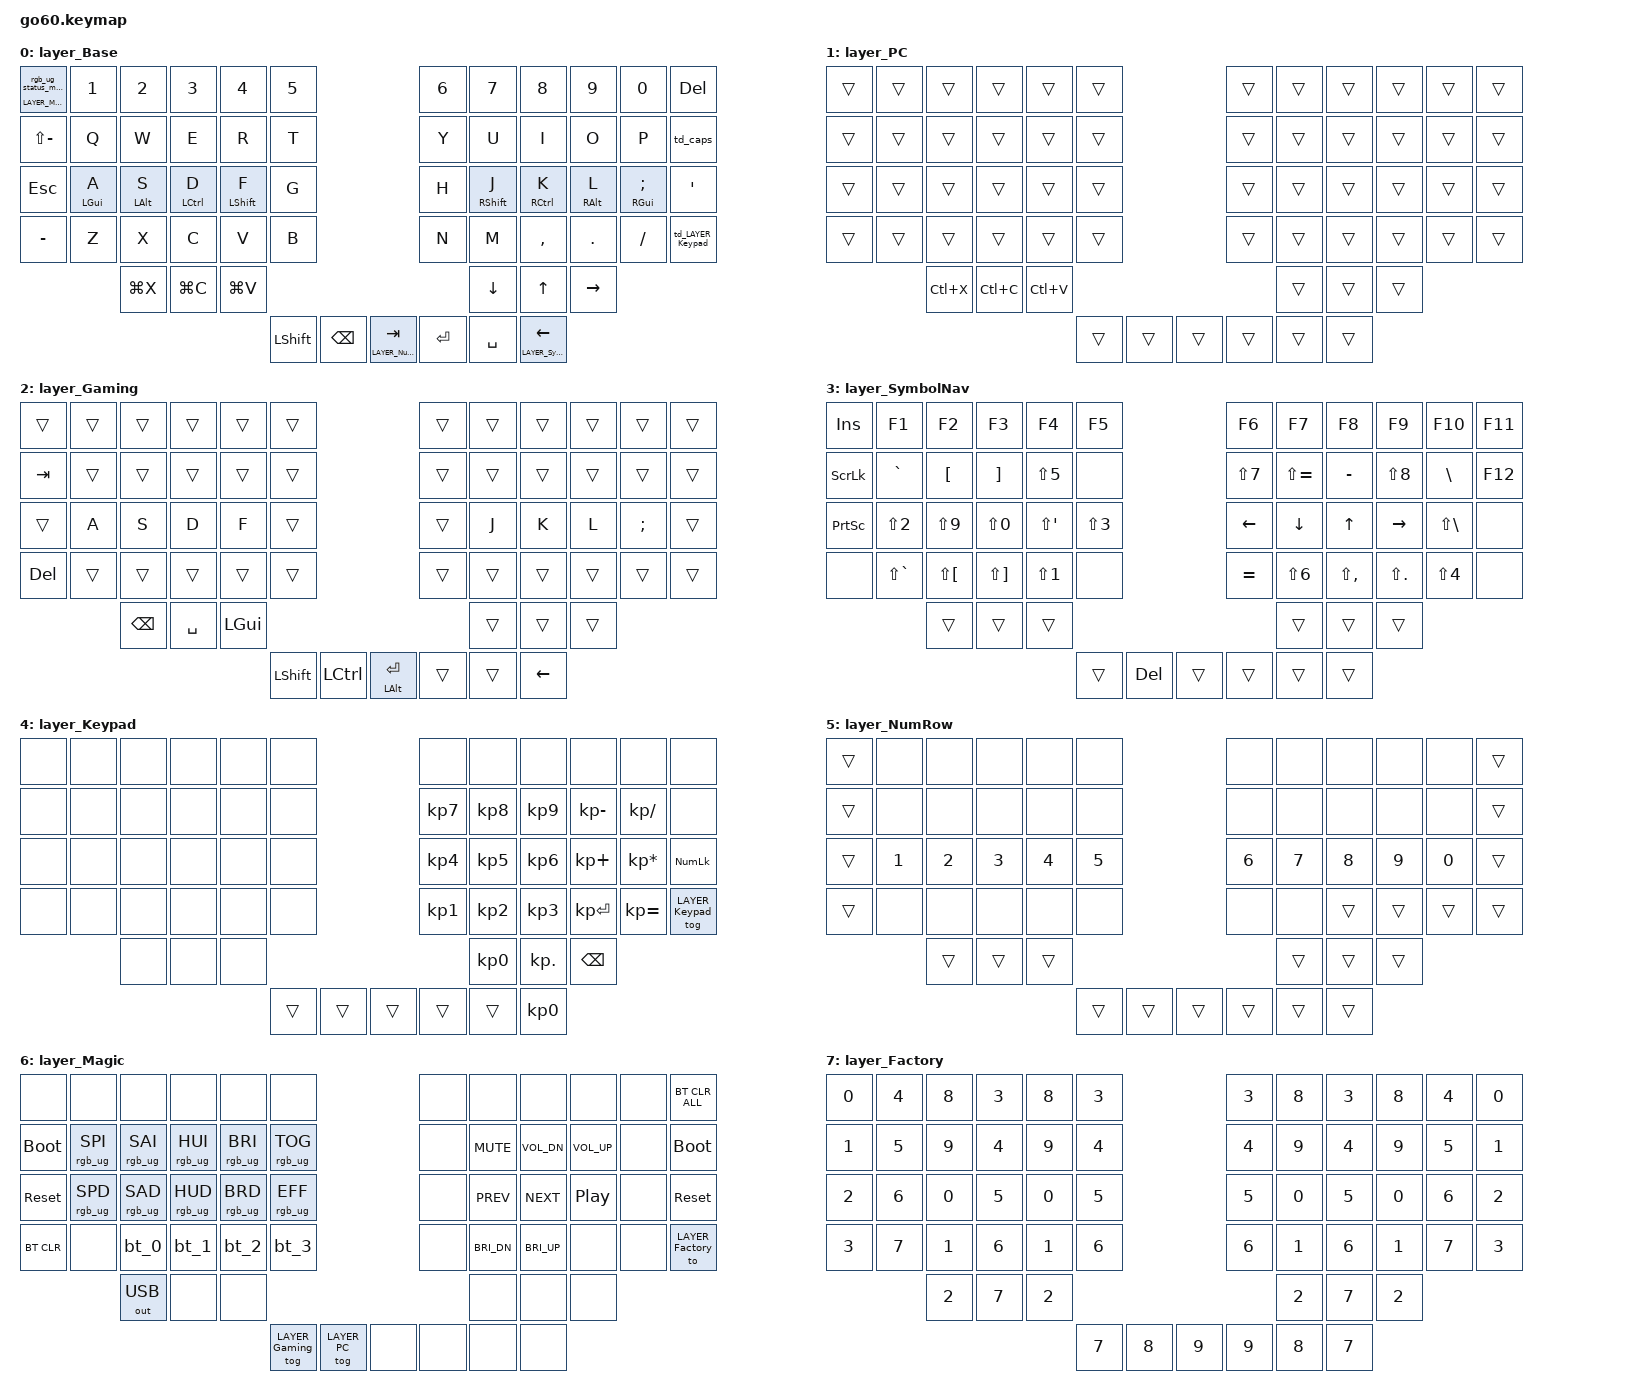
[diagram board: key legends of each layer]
/*
 * Copyright (c) 2020 The ZMK Contributors
 * Copyright (c) 2025 Innaworks Development Limited, trading as MoErgo
 *
 * SPDX-License-Identifier: MIT
 */


/* THIS FILE WAS GENERATED BY GO60 LAYOUT EDITOR
 *
 * This file was generated automatically. You may or may not want to
 * edit it directly.
 */

#include <behaviors.dtsi>

/* Include all behavior includes needed */

#include <dt-bindings/zmk/outputs.h>
#include <dt-bindings/zmk/keys.h>
#include <dt-bindings/zmk/bt.h>
#include <dt-bindings/zmk/rgb.h>

#include <input/processors.dtsi>
#include <dt-bindings/zmk/input_transform.h>
#include <zephyr/dt-bindings/input/input-event-codes.h>

/* On demand includes */
#include <dt-bindings/zmk/input_transform.h>
#include <dt-bindings/zmk/pointing.h>
#include <input/processors.dtsi>

/* Helper Macros, based on https://github.com/urob/zmk-helpers/ */

#pragma once

#define ZMK_HELPER_STRINGIFY(x) #x

// Preprocessor mechanism to overload macros, cf. https://stackoverflow.com/a/27051616/6114651
#define VARGS_(_10, _9, _8, _7, _6, _5, _4, _3, _2, _1, N, ...) N
#define VARGS(...) VARGS_(__VA_ARGS__, 10, 9, 8, 7, 6, 5, 4, 3, 2, 1, 0)
#define CONCAT_(a, b) a##b
#define CONCAT(a, b) CONCAT_(a, b)

#define ZMK_BEHAVIOR_CORE_tap_dance  \
    compatible = "zmk,behavior-tap-dance"; \
    #binding-cells = <0>

#define ZMK_BEHAVIOR(name, type, ...) \
    name: name { \
        ZMK_BEHAVIOR_CORE_ ## type; \
        __VA_ARGS__ \
    };

#define ZMK_TAP_DANCE(name, ...) \
    ZMK_BEHAVIOR(name, tap_dance, __VA_ARGS__)

#define ZMK_TD_LAYER(name, layer) \
    ZMK_TAP_DANCE(name, \
        tapping-term-ms = <200>; \
        bindings = <&mo layer>, <&tog layer>; \
)





/* Key positions */

#define POS_LH_C6R1 0
#define POS_LH_C5R1 1
#define POS_LH_C4R1 2
#define POS_LH_C3R1 3
#define POS_LH_C2R1 4
#define POS_LH_C1R1 5
#define POS_RH_C1R1 6
#define POS_RH_C2R1 7
#define POS_RH_C3R1 8
#define POS_RH_C4R1 9
#define POS_RH_C5R1 10
#define POS_RH_C6R1 11
#define POS_LH_C6R2 12
#define POS_LH_C5R2 13
#define POS_LH_C4R2 14
#define POS_LH_C3R2 15
#define POS_LH_C2R2 16
#define POS_LH_C1R2 17
#define POS_RH_C1R2 18
#define POS_RH_C2R2 19
#define POS_RH_C3R2 20
#define POS_RH_C4R2 21
#define POS_RH_C5R2 22
#define POS_RH_C6R2 23
#define POS_LH_C6R3 24
#define POS_LH_C5R3 25
#define POS_LH_C4R3 26
#define POS_LH_C3R3 27
#define POS_LH_C2R3 28
#define POS_LH_C1R3 29
#define POS_RH_C1R3 30
#define POS_RH_C2R3 31
#define POS_RH_C3R3 32
#define POS_RH_C4R3 33
#define POS_RH_C5R3 34
#define POS_RH_C6R3 35
#define POS_LH_C6R4 36
#define POS_LH_C5R4 37
#define POS_LH_C4R4 38
#define POS_LH_C3R4 39
#define POS_LH_C2R4 40
#define POS_LH_C1R4 41
#define POS_RH_C1R4 42
#define POS_RH_C2R4 43
#define POS_RH_C3R4 44
#define POS_RH_C4R4 45
#define POS_RH_C5R4 46
#define POS_RH_C6R4 47
#define POS_LH_C4R5 48
#define POS_LH_C3R5 49
#define POS_LH_C2R5 50
#define POS_RH_C2R5 51
#define POS_RH_C3R5 52
#define POS_RH_C4R5 53
#define POS_LH_T1 54
#define POS_LH_T2 55
#define POS_LH_T3 56
#define POS_RH_T3 57
#define POS_RH_T2 58
#define POS_RH_T1 59


#define LEFT_HAND_KEYS \
  POS_LH_C1R1 POS_LH_C2R1 POS_LH_C3R1 POS_LH_C4R1 POS_LH_C5R1 POS_LH_C6R1 \
  POS_LH_C1R2 POS_LH_C2R2 POS_LH_C3R2 POS_LH_C4R2 POS_LH_C5R2 POS_LH_C6R2 \
  POS_LH_C1R3 POS_LH_C2R3 POS_LH_C3R3 POS_LH_C4R3 POS_LH_C5R3 POS_LH_C6R3 \
  POS_LH_C1R4 POS_LH_C2R4 POS_LH_C3R4 POS_LH_C4R4 POS_LH_C5R4 POS_LH_C6R4 \
              POS_LH_C2R5 POS_LH_C3R5 POS_LH_C4R5

#define RIGHT_HAND_KEYS \
  POS_RH_C1R1 POS_RH_C2R1 POS_RH_C3R1 POS_RH_C4R1 POS_RH_C5R1 POS_RH_C6R1 \
  POS_RH_C1R2 POS_RH_C2R2 POS_RH_C3R2 POS_RH_C4R2 POS_RH_C5R2 POS_RH_C6R2 \
  POS_RH_C1R3 POS_RH_C2R3 POS_RH_C3R3 POS_RH_C4R3 POS_RH_C5R3 POS_RH_C6R3 \
  POS_RH_C1R4 POS_RH_C2R4 POS_RH_C3R4 POS_RH_C4R4 POS_RH_C5R4 POS_RH_C6R4 \
              POS_RH_C2R5 POS_RH_C3R5 POS_RH_C4R5

#define THUMB_KEYS \
  POS_LH_T1 POS_LH_T2 POS_LH_T3 \
  POS_RH_T1 POS_RH_T2 POS_RH_T3

/* Environment and metadata defines */
#define KB_TYPE_GLOVE_80 1
#define KB_TYPE_GO_60    2

#define KB_TYPE          KB_TYPE_GO_60
#define EDITOR_HOST_OS   'M'

/* Automatically generated layer name defines */
#define LAYER_Base 0
#define LAYER_PC 1
#define LAYER_Gaming 2
#define LAYER_SymbolNav 3
#define LAYER_Keypad 4
#define LAYER_NumRow 5
#define LAYER_Magic 6
#define LAYER_Factory 7

/* To deal with the situation where there is no Lower layer, to keep &lower happy */
#ifndef LAYER_Lower
#define LAYER_Lower 0
#endif

/* Generated input processors */
/ {
    input_processors {
        zip_click_to_right_click_mapper: zip_click_to_right_click_mapper {
            compatible = "zmk,input-processor-code-mapper";
            #input-processor-cells = <0>;
            type = <INPUT_EV_KEY>;
            map = <INPUT_BTN_0 INPUT_BTN_1>;
        };
    };
};

/* Custom Device-tree */


/* Input Listeners */
&cirque_rh_listener {
    input-processors = <&zip_xy_scaler 3 1>;
    layer_SymbolNav {
        layers = <LAYER_SymbolNav>;
        input-processors = <&zip_xy_scaler 9 1>;
    };
};

&cirque_lh_listener {
    input-processors = <&zip_xy_scaler 11 12>, <&zip_xy_transform INPUT_TRANSFORM_Y_INVERT>, <&zip_xy_to_scroll_mapper>, <&zip_click_to_right_click_mapper>;
    layer_Factory {
        layers = <LAYER_Factory>;
        input-processors = <&zip_xy_scaler 3 1>;
    };
};

/* System behavior and macros */
/ {
    behaviors {
        ZMK_TD_LAYER(lower, LAYER_Lower)
    };
};

/ {
    macros {
        rgb_ug_status_macro: rgb_ug_status_macro {
            label = "RGB_UG_STATUS";
            compatible = "zmk,behavior-macro";
            #binding-cells = <0>;
            bindings
                = <&rgb_ug RGB_STATUS>;
        };
    };
};

/ {
#ifdef BT_DISC_CMD
    behaviors {
        bt_0: bt_0 {
            compatible = "zmk,behavior-tap-dance";
            label = "BT_0";
            #binding-cells = <0>;
            tapping-term-ms = <200>;
            bindings = <&bt_select_0>, <&bt BT_DISC 0>;
        };
        bt_1: bt_1 {
            compatible = "zmk,behavior-tap-dance";
            label = "BT_1";
            #binding-cells = <0>;
            tapping-term-ms = <200>;
            bindings = <&bt_select_1>, <&bt BT_DISC 1>;
        };
        bt_2: bt_2 {
            compatible = "zmk,behavior-tap-dance";
            label = "BT_2";
            #binding-cells = <0>;
            tapping-term-ms = <200>;
            bindings = <&bt_select_2>, <&bt BT_DISC 2>;
        };
        bt_3: bt_3 {
            compatible = "zmk,behavior-tap-dance";
            label = "BT_3";
            #binding-cells = <0>;
            tapping-term-ms = <200>;
            bindings = <&bt_select_3>, <&bt BT_DISC 3>;
        };
    };
    macros {
        bt_select_0: bt_select_0 {
            label = "BT_SELECT_0";
            compatible = "zmk,behavior-macro";
            #binding-cells = <0>;
            bindings
                = <&out OUT_BLE>,
                  <&bt BT_SEL 0>,
                  <&to LAYER_Base>;
        };
        bt_select_1: bt_select_1 {
            label = "BT_SELECT_1";
            compatible = "zmk,behavior-macro";
            #binding-cells = <0>;
            bindings
                = <&out OUT_BLE>,
                  <&bt BT_SEL 1>,
                  <&to LAYER_PC>;
        };
        bt_select_2: bt_select_2 {
            label = "BT_SELECT_2";
            compatible = "zmk,behavior-macro";
            #binding-cells = <0>;
            bindings
                = <&out OUT_BLE>,
                  <&bt BT_SEL 2>;
        };
        bt_select_3: bt_select_3 {
            label = "BT_SELECT_3";
            compatible = "zmk,behavior-macro";
            #binding-cells = <0>;
            bindings
                = <&out OUT_BLE>,
                  <&bt BT_SEL 3>;
        };
    };
#else
    macros {
        bt_0: bt_0 {
            label = "BT_0";
            compatible = "zmk,behavior-macro";
            #binding-cells = <0>;
            bindings
                = <&out OUT_BLE>,
                  <&bt BT_SEL 0>,
                  <&to LAYER_Base>;
        };
        bt_1: bt_1 {
            label = "BT_1";
            compatible = "zmk,behavior-macro";
            #binding-cells = <0>;
            bindings
                = <&out OUT_BLE>,
                  <&bt BT_SEL 1>,
                  <&to LAYER_PC>;
        };
        bt_2: bt_2 {
            label = "BT_2";
            compatible = "zmk,behavior-macro";
            #binding-cells = <0>;
            bindings
                = <&out OUT_BLE>,
                  <&bt BT_SEL 2>;
        };
        bt_3: bt_3 {
            label = "BT_3";
            compatible = "zmk,behavior-macro";
            #binding-cells = <0>;
            bindings
                = <&out OUT_BLE>,
                  <&bt BT_SEL 3>;
        };
    };
#endif
};

/ {
    behaviors {
        magic: magic {
            compatible = "zmk,behavior-hold-tap";
            label = "MAGIC_HOLD_TAP";
            #binding-cells = <2>;
            flavor = "tap-preferred";
            tapping-term-ms = <200>;
            bindings = <&mo>, <&rgb_ug_status_macro>;
        };
    };
};


/* Custom Defined Behaviors */
/ {

};

/* Automatically generated macro definitions */
/ {
    macros {

    };
};

/* Automatically generated behavior definitions */
/ {
    behaviors {
        // home_row_mod_left

        hml: hml {
            compatible = "zmk,behavior-hold-tap";
            #binding-cells = <2>;
            tapping-term-ms = <280>;
            bindings = <&kp>, <&kp>;

            flavor = "balanced";
            quick-tap-ms = <250>;
            require-prior-idle-ms = <150>;
            hold-trigger-key-positions = <RIGHT_HAND_KEYS POS_RH_T1 POS_RH_T2 POS_RH_T3>;
            hold-trigger-on-release;
        };

        // home_row_mod_right

        hmr: hmr {
            compatible = "zmk,behavior-hold-tap";
            #binding-cells = <2>;
            tapping-term-ms = <280>;
            bindings = <&kp>, <&kp>;

            flavor = "balanced";
            quick-tap-ms = <250>;
            require-prior-idle-ms = <150>;
            hold-trigger-key-positions = <LEFT_HAND_KEYS POS_LH_T1 POS_LH_T2 POS_LH_T3>;
            hold-trigger-on-release;
        };

        hold_tap_layer: hold_tap_layer {
            compatible = "zmk,behavior-hold-tap";
            #binding-cells = <2>;
            tapping-term-ms = <200>;
            bindings = <&mo>, <&kp>;

            flavor = "tap-preferred";
            quick-tap-ms = <175>;
        };

        td_caps: td_caps {
            compatible = "zmk,behavior-tap-dance";
            label = "TD_CAPS";
            #binding-cells = <0>;
            tapping-term-ms = <250>;
            bindings = <&caps_word>, <&kp CAPS>;
        };

        // Layer tap dance behaviors

        ZMK_TD_LAYER(td_LAYER_Keypad, 4)

    };
};

/* Automatically generated combos definitions */


/* Automatically generated keymap */
/ {
    keymap {
        compatible = "zmk,keymap";


        layer_Base {
            bindings = <
 &magic LAYER_Magic 0       &kp N1       &kp N2        &kp N3        &kp N4  &kp N5                                                                                            &kp N6        &kp N7        &kp N8       &kp N9          &kp N0           &kp DEL
        &kp LS(MINUS)        &kp Q        &kp W         &kp E         &kp R   &kp T                                                                                             &kp Y         &kp U         &kp I        &kp O           &kp P          &td_caps
              &kp ESC  &hml LGUI A  &hml LALT S  &hml LCTRL D  &hml LSHFT F   &kp G                                                                                             &kp H  &hmr RSHFT J  &hmr RCTRL K  &hmr RALT L  &hmr RGUI SEMI           &kp SQT
            &kp MINUS        &kp Z        &kp X         &kp C         &kp V   &kp B                                                                                             &kp N         &kp M     &kp COMMA      &kp DOT        &kp FSLH  &td_LAYER_Keypad
                                      &kp LG(X)     &kp LG(C)     &kp LG(V)                                                                                                                &kp DOWN        &kp UP    &kp RIGHT
                                                                                     &kp LSHFT  &kp BSPC  &lt LAYER_NumRow TAB  &kp RET  &kp SPACE  &hold_tap_layer LAYER_SymbolNav LEFT
            >;
        };

        layer_PC {
            bindings = <
 &trans  &trans     &trans     &trans     &trans  &trans                                                  &trans  &trans  &trans  &trans  &trans  &trans
 &trans  &trans     &trans     &trans     &trans  &trans                                                  &trans  &trans  &trans  &trans  &trans  &trans
 &trans  &trans     &trans     &trans     &trans  &trans                                                  &trans  &trans  &trans  &trans  &trans  &trans
 &trans  &trans     &trans     &trans     &trans  &trans                                                  &trans  &trans  &trans  &trans  &trans  &trans
                 &kp LC(X)  &kp LC(C)  &kp LC(V)                                                                  &trans  &trans  &trans
                                                          &trans  &trans  &trans  &trans  &trans  &trans
            >;
        };

        layer_Gaming {
            bindings = <
  &trans  &trans  &trans  &trans    &trans  &trans                                                                           &trans  &trans  &trans  &trans    &trans  &trans
 &kp TAB  &trans  &trans  &trans    &trans  &trans                                                                           &trans  &trans  &trans  &trans    &trans  &trans
  &trans   &kp A   &kp S   &kp D     &kp F  &trans                                                                           &trans   &kp J   &kp K   &kp L  &kp SEMI  &trans
 &kp DEL  &trans  &trans  &trans    &trans  &trans                                                                           &trans  &trans  &trans  &trans    &trans  &trans
                &kp BSPC  &kp SPACE  &kp LGUI                                                                                        &trans  &trans  &trans
                                                    &kp LSHFT  &kp LCTRL  &mt LALT RET  &trans  &trans  &kp LEFT
            >;
        };

        layer_SymbolNav {
            bindings = <
    &kp INS         &kp F1        &kp F2        &kp F3       &kp F4      &kp F5                                                     &kp F6         &kp F7         &kp F8       &kp F9       &kp F10   &kp F11
   &kp SLCK      &kp GRAVE      &kp LBKT      &kp RBKT   &kp LS(N5)       &none                                                 &kp LS(N7)  &kp LS(EQUAL)      &kp MINUS   &kp LS(N8)      &kp BSLH   &kp F12
  &kp PSCRN     &kp LS(N2)    &kp LS(N9)    &kp LS(N0)  &kp LS(SQT)  &kp LS(N3)                                                   &kp LEFT       &kp DOWN         &kp UP    &kp RIGHT  &kp LS(BSLH)     &none
      &none  &kp LS(GRAVE)  &kp LS(LBKT)  &kp LS(RBKT)   &kp LS(N1)       &none                                                  &kp EQUAL     &kp LS(N6)  &kp LS(COMMA)  &kp LS(DOT)    &kp LS(N4)     &none
                                  &trans        &trans       &trans                                                                                &trans         &trans       &trans
                                                                                 &trans  &kp DEL  &trans  &trans  &trans  &trans
            >;
        };

        layer_Keypad {
            bindings = <
  &none   &none   &none   &none   &none   &none                                                         &none      &none       &none         &none            &none              &none
  &none   &none   &none   &none   &none   &none                                                     &kp KP_N7  &kp KP_N8   &kp KP_N9  &kp KP_MINUS     &kp KP_SLASH              &none
  &none   &none   &none   &none   &none   &none                                                     &kp KP_N4  &kp KP_N5   &kp KP_N6   &kp KP_PLUS  &kp KP_MULTIPLY         &kp KP_NUM
  &none   &none   &none   &none   &none   &none                                                     &kp KP_N1  &kp KP_N2   &kp KP_N3  &kp KP_ENTER     &kp KP_EQUAL  &tog LAYER_Keypad
                  &none   &none   &none                                                                        &kp KP_N0  &kp KP_DOT      &kp BSPC
                                                 &trans  &trans  &trans  &trans  &trans  &kp KP_N0
            >;
        };

        layer_NumRow {
            bindings = <
 &trans   &none   &none   &none   &none   &none                                                   &none   &none   &none   &none   &none  &trans
 &trans   &none   &none   &none   &none   &none                                                   &none   &none   &none   &none   &none  &trans
 &trans  &kp N1  &kp N2  &kp N3  &kp N4  &kp N5                                                  &kp N6  &kp N7  &kp N8  &kp N9  &kp N0  &trans
 &trans   &none   &none   &none   &none   &none                                                   &none   &none  &trans  &trans  &trans  &trans
                 &trans  &trans  &trans                                                                  &trans  &trans  &trans
                                                 &trans  &trans  &trans  &trans  &trans  &trans
            >;
        };

        layer_Magic {
            bindings = <
       &none            &none            &none            &none            &none            &none                                                                           &none         &none         &none         &none   &none     &bt BT_CLR_ALL
 &bootloader  &rgb_ug RGB_SPI  &rgb_ug RGB_SAI  &rgb_ug RGB_HUI  &rgb_ug RGB_BRI  &rgb_ug RGB_TOG                                                                           &none    &kp C_MUTE  &kp C_VOL_DN  &kp C_VOL_UP   &none        &bootloader
  &sys_reset  &rgb_ug RGB_SPD  &rgb_ug RGB_SAD  &rgb_ug RGB_HUD  &rgb_ug RGB_BRD  &rgb_ug RGB_EFF                                                                           &none    &kp C_PREV    &kp C_NEXT      &kp C_PP   &none         &sys_reset
  &bt BT_CLR            &none            &bt_0            &bt_1            &bt_2            &bt_3                                                                           &none  &kp C_BRI_DN  &kp C_BRI_UP         &none   &none  &to LAYER_Factory
                                  &out OUT_USB            &none            &none                                                                                                          &none         &none         &none
                                                                                                   &tog LAYER_Gaming  &tog LAYER_PC   &none   &none   &none   &none
            >;
        };

        layer_Factory {
            bindings = <
 &kp N0  &kp N4  &kp N8  &kp N3  &kp N8  &kp N3                                                  &kp N3  &kp N8  &kp N3  &kp N8  &kp N4  &kp N0
 &kp N1  &kp N5  &kp N9  &kp N4  &kp N9  &kp N4                                                  &kp N4  &kp N9  &kp N4  &kp N9  &kp N5  &kp N1
 &kp N2  &kp N6  &kp N0  &kp N5  &kp N0  &kp N5                                                  &kp N5  &kp N0  &kp N5  &kp N0  &kp N6  &kp N2
 &kp N3  &kp N7  &kp N1  &kp N6  &kp N1  &kp N6                                                  &kp N6  &kp N1  &kp N6  &kp N1  &kp N7  &kp N3
                 &kp N2  &kp N7  &kp N2                                                                  &kp N2  &kp N7  &kp N2
                                                 &kp N7  &kp N8  &kp N9  &kp N9  &kp N8  &kp N7
            >;
        };

    };
};

/* Per-key RGB Layer Color Helpers */
#define ___ &ug 0x000000
#define GRN &ug 0x00FF00  /* Numbers & Layer Toggles */
#define MAG &ug 0xFF00FF  /* Vim Arrows (HJKL) */
#define GLD &ug 0xFFBF00  /* Brackets, Quotes & RGB Controls */
#define ORG &ug 0xFF5500  /* Symbols, Math Operators & Gaming Mods */
#define CYN &ug 0x00FFFF  /* Function Keys (F1-F12) & Media Controls */
#define RED &ug 0xFF0000  /* System / Lock / Exit / WASD */
#define BLU &ug 0x0066FF  /* PC & Bluetooth / Connectivity */
#define NML &ug_nl 0x00FF00 0xFF0000  /* NumLock indicator (Green=ON, Red=OFF) */

/ {
    underglow-layer {
        compatible = "zmk,underglow-layer";

#ifdef IS_GO60_RH
        pixel-lookup = <
            POS_RH_T1   POS_RH_T2   POS_RH_T3
            POS_RH_C1R1 POS_RH_C1R2 POS_RH_C1R3 POS_RH_C1R4
            POS_RH_C2R1 POS_RH_C2R2 POS_RH_C2R3 POS_RH_C2R4 POS_RH_C2R5
            POS_RH_C3R1 POS_RH_C3R2 POS_RH_C3R3 POS_RH_C3R4 POS_RH_C3R5
            POS_RH_C4R1 POS_RH_C4R2 POS_RH_C4R3 POS_RH_C4R4 POS_RH_C4R5
            POS_RH_C5R1 POS_RH_C5R2 POS_RH_C5R3 POS_RH_C5R4
            POS_RH_C6R1 POS_RH_C6R2 POS_RH_C6R3 POS_RH_C6R4
        >;
#else
        pixel-lookup = <
            POS_LH_T1   POS_LH_T2   POS_LH_T3
            POS_LH_C1R1 POS_LH_C1R2 POS_LH_C1R3 POS_LH_C1R4
            POS_LH_C2R1 POS_LH_C2R2 POS_LH_C2R3 POS_LH_C2R4 POS_LH_C2R5
            POS_LH_C3R1 POS_LH_C3R2 POS_LH_C3R3 POS_LH_C3R4 POS_LH_C3R5
            POS_LH_C4R1 POS_LH_C4R2 POS_LH_C4R3 POS_LH_C4R4 POS_LH_C4R5
            POS_LH_C5R1 POS_LH_C5R2 POS_LH_C5R3 POS_LH_C5R4
            POS_LH_C6R1 POS_LH_C6R2 POS_LH_C6R3 POS_LH_C6R4
        >;
#endif

        /* Permanent layer: lights up for 3s when toggled on, then fades out */
        layer_PC {
            layer-id = <LAYER_PC>;
            fade-delay = <3>;
            bindings = <
 ___  ___  ___  ___  ___  ___                                                  ___  ___  ___  ___  ___  ___
 ___  ___  ___  ___  ___  ___                                                  ___  ___  ___  ___  ___  ___
 ___  BLU  BLU  BLU  BLU  ___                                                  ___  BLU  BLU  BLU  BLU  ___
 ___  ___  ___  ___  ___  ___                                                  ___  ___  ___  ___  ___  ___
           BLU  BLU  BLU                                                            ___  ___  ___
                                               ___  ___  ___  ___  ___  ___
            >;
        };

        /* Permanent layer: lights up for 3s when toggled on, then fades out */
        layer_Gaming {
            layer-id = <LAYER_Gaming>;
            fade-delay = <3>;
            bindings = <
 ___  ___  ___  ___  ___  ___                                                  ___  ___  ___  ___  ___  ___
 ORG  ___  RED  ___  ___  ___                                                  ___  ___  ___  ___  ___  ___
 ___  RED  RED  RED  ORG  ___                                                  ___  ORG  ORG  ORG  ORG  ___
 ORG  ___  ___  ___  ___  ___                                                  ___  ___  ___  ___  ___  ___
           ORG  ORG  ORG                                                            ___  ___  ___
                                               ORG  ORG  ORG  ___  ___  ORG
            >;
        };

        /* Momentary layer: stays lit while held */
        layer_SymbolNav {
            layer-id = <LAYER_SymbolNav>;
            bindings = <
 RED  CYN  CYN  CYN  CYN  CYN                                                  CYN  CYN  CYN  CYN  CYN  CYN
 RED  ORG  GLD  GLD  ORG  ___                                                  ORG  ORG  ORG  ORG  ORG  CYN
 RED  ORG  GLD  GLD  GLD  ORG                                                  MAG  MAG  MAG  MAG  ORG  ___
 ___  ORG  GLD  GLD  ORG  ___                                                  ORG  ORG  ORG  ORG  ORG  ___
           ___  ___  ___                                                            ___  ___  ___
                                               ___  RED  ___  ___  ___  ___
            >;
        };

        /* Hybrid layer: stays lit while active (both held and double-tap toggled) */
        layer_Keypad {
            layer-id = <LAYER_Keypad>;
            bindings = <
 ___  ___  ___  ___  ___  ___                                                  ___  ___  ___  ___  ___  ___
 ___  ___  ___  ___  ___  ___                                                  GRN  GRN  GRN  ORG  ORG  ___
 ___  ___  ___  ___  ___  ___                                                  GRN  GRN  GRN  ORG  ORG  NML
 ___  ___  ___  ___  ___  ___                                                  GRN  GRN  GRN  ORG  ORG  RED
           ___  ___  ___                                                            GRN  GRN  ORG
                                               ___  ___  ___  ___  ___  GRN
            >;
        };

        /* Momentary layer: stays lit while held */
        layer_NumRow {
            layer-id = <LAYER_NumRow>;
            bindings = <
 ___  ___  ___  ___  ___  ___                                                  ___  ___  ___  ___  ___  ___
 ___  ___  ___  ___  ___  ___                                                  ___  ___  ___  ___  ___  ___
 ___  GRN  GRN  GRN  GRN  GRN                                                  GRN  GRN  GRN  GRN  GRN  ___
 ___  ___  ___  ___  ___  ___                                                  ___  ___  ___  ___  ___  ___
           ___  ___  ___                                                            ___  ___  ___
                                               ___  ___  ___  ___  ___  ___
            >;
        };

        /* Momentary layer: stays lit while held */
        layer_Magic {
            layer-id = <LAYER_Magic>;
            bindings = <
 ___  ___  ___  ___  ___  ___                                                  ___  ___  ___  ___  ___  RED
 RED  GLD  GLD  GLD  GLD  GLD                                                  ___  CYN  CYN  CYN  ___  RED
 RED  GLD  GLD  GLD  GLD  GLD                                                  ___  CYN  CYN  CYN  ___  RED
 RED  ___  BLU  BLU  BLU  BLU                                                  ___  CYN  CYN  ___  ___  RED
           BLU  ___  ___                                                            ___  ___  ___
                                               GRN  GRN  ___  ___  ___  ___
            >;
        };
    };
};
